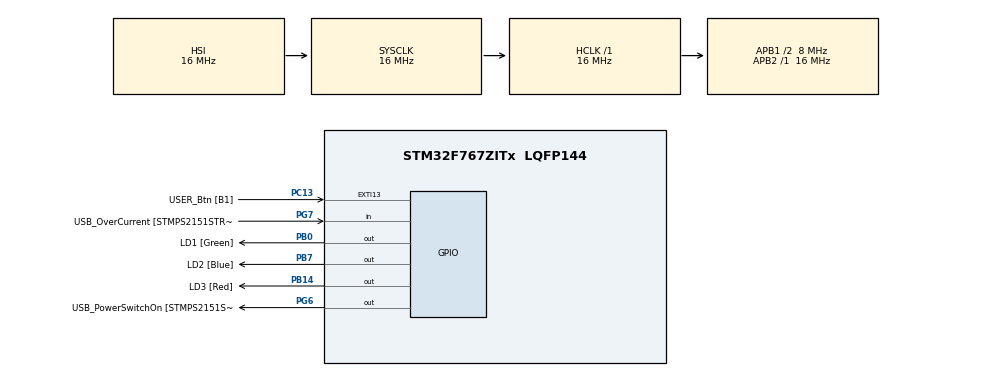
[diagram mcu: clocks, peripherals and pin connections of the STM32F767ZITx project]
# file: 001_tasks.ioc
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Mcu.Family=STM32F7
Mcu.Name=STM32F767ZITx
Mcu.Package=LQFP144
NVIC.PriorityGroup=NVIC_PRIORITYGROUP_4
NVIC.TIM6_DAC_IRQn=true\:15\:0\:false\:false\:true\:false\:true\:true
NVIC.TimeBase=TIM6_DAC_IRQn
NVIC.TimeBaseIP=TIM6
PA1.GPIO_Label=RMII_REF_CLK [LAN8742A-CZ-TR_REFCLK0]
PA1.Signal=ETH_REF_CLK
PA10.GPIO_Label=USB_ID
PA10.Signal=USB_OTG_FS_ID
PA11.GPIO_Label=USB_DM
PA11.Signal=USB_OTG_FS_DM
PA12.GPIO_Label=USB_DP
PA12.Signal=USB_OTG_FS_DP
PA13.GPIO_Label=TMS
PA13.Signal=SYS_JTMS-SWDIO
PA14.GPIO_Label=TCK
PA14.Signal=SYS_JTCK-SWCLK
PA2.GPIO_Label=RMII_MDIO [LAN8742A-CZ-TR_MDIO]
PA2.Signal=ETH_MDIO
PA7.GPIO_Label=RMII_CRS_DV [LAN8742A-CZ-TR_CRS_DV]
PA7.Signal=ETH_CRS_DV
PA8.GPIO_Label=USB_SOF [TP1]
PA8.Signal=USB_OTG_FS_SOF
PA9.GPIO_Label=USB_VBUS
PA9.Signal=USB_OTG_FS_VBUS
PB0.GPIO_Label=LD1 [Green]
PB0.Signal=GPIO_Output
PB13.GPIO_Label=RMII_TXD1 [LAN8742A-CZ-TR_TXD1]
PB13.Signal=ETH_TXD1
PB14.GPIO_Label=LD3 [Red]
PB14.Signal=GPIO_Output
PB3.GPIO_Label=SW0
PB3.Signal=SYS_JTDO-SWO
PB7.GPIO_Label=LD2 [Blue]
PB7.Signal=GPIO_Output
PC1.GPIO_Label=RMII_MDC [LAN8742A-CZ-TR_MDC]
PC1.Signal=ETH_MDC
PC13.GPIO_Label=USER_Btn [B1]
PC13.Signal=GPXTI13
PC14/OSC32_IN.Signal=RCC_OSC32_IN
PC15/OSC32_OUT.Signal=RCC_OSC32_OUT
PC4.GPIO_Label=RMII_RXD0 [LAN8742A-CZ-TR_RXD0]
PC4.Signal=ETH_RXD0
PC5.GPIO_Label=RMII_RXD1 [LAN8742A-CZ-TR_RXD1]
PC5.Signal=ETH_RXD1
PD8.GPIO_Label=STLK_RX [STM32F103CBT6_PA3]
PD8.Signal=USART3_TX
PD9.GPIO_Label=STLK_TX [STM32F103CBT6_PA2]
PD9.Signal=USART3_RX
PG11.GPIO_Label=RMII_TX_EN [LAN8742A-CZ-TR_TXEN]
PG11.Signal=ETH_TX_EN
PG13.GPIO_Label=RMII_TXD0 [LAN8742A-CZ-TR_TXD0]
PG13.Signal=ETH_TXD0
PG6.GPIO_Label=USB_PowerSwitchOn [STMPS2151STR_EN]
PG6.Signal=GPIO_Output
PG7.GPIO_Label=USB_OverCurrent [STMPS2151STR_FAULT]
PG7.Signal=GPIO_Input
PH0/OSC_IN.GPIO_Label=MCO [STM32F103CBT6_PA8]
PH0/OSC_IN.Signal=RCC_OSC_IN
PH1/OSC_OUT.Signal=RCC_OSC_OUT
ProjectManager.HeapSize=0x200
ProjectManager.StackSize=0x400
ProjectManager.TargetToolchain=STM32CubeIDE
RCC.48MHZClocksFreq_Value=24000000
RCC.AHBFreq_Value=16000000
RCC.APB1CLKDivider=RCC_HCLK_DIV2
RCC.APB1Freq_Value=8000000
RCC.APB1TimFreq_Value=16000000
RCC.APB2Freq_Value=16000000
RCC.APB2TimFreq_Value=16000000
RCC.CortexFreq_Value=16000000
RCC.HCLKFreq_Value=16000000
RCC.HSE_VALUE=16000000
RCC.HSI_VALUE=16000000
RCC.LSE_VALUE=32768
RCC.PLLMUL=RCC_PLL_MUL9
RCC.PRESCALERUSB=RCC_USBCLKSOURCE_PLL_DIV1_5
RCC.SYSCLKFreq_VALUE=16000000
RCC.SYSCLKSourceVirtual=RCC_SYSCLKSOURCE_PLLCLK
RCC.USBFreq_Value=96000000
RCC.VCOOutputFreq_Value=192000000
VP_SYS_VS_tim6.Mode=TIM6
board=NUCLEO-F767ZI

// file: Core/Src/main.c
/* USER CODE BEGIN Header */
/**
  ******************************************************************************
  * @file           : main.c
  * @brief          : Main program body
  ******************************************************************************
  * @attention
  *
  * Copyright (c) 2026 STMicroelectronics.
  * All rights reserved.
  *
  * This software is licensed under terms that can be found in the LICENSE file
  * in the root directory of this software component.
  * If no LICENSE file comes with this software, it is provided AS-IS.
  *
  ******************************************************************************
  */
/* USER CODE END Header */
#include "main.h"

/* USER CODE BEGIN Includes */
#include "FreeRTOS.h"
#include "task.h"

#include <stdio.h>
/* USER CODE END Includes */

/* USER CODE BEGIN PV */

#define DWT_CTRL (*(volatile uint32_t*)0xE0001000)

/* USER CODE END PV */

void SystemClock_Config(void);
static void MX_GPIO_Init(void);

/* USER CODE BEGIN 0 */

static void task1_handler(void* parameters);
static void task2_handler(void* parameters);

/* USER CODE END 0 */

int main(void)
{

  /* USER CODE BEGIN 1 */

  TaskHandle_t task1_handle;
  TaskHandle_t task2_handle;

  BaseType_t status;

  /* USER CODE END 1 */

  /* MCU Configuration--------------------------------------------------------*/

  /* Reset of all peripherals, Initializes the Flash interface and the Systick. */
  HAL_Init();

  /* Configure the system clock */
  SystemClock_Config();

  /* Initialize all configured peripherals */
  MX_GPIO_Init();
  /* USER CODE BEGIN 2 */

  DWT_CTRL |= (1 << 0);

  SEGGER_SYSVIEW_Conf();
  SEGGER_SYSVIEW_Start();

  status = xTaskCreate(
		  	  task1_handler,
			  "task-1",
			  200,
			  "Hello world from task 1",
			  2,
			  &task1_handle);

  configASSERT(status == pdPASS);

  status = xTaskCreate(
		  	  task2_handler,
			  "task-2",
			  200,
			  "Hello world from task 2",
			  2,
			  &task2_handle);

  configASSERT(status == pdPASS);

  vTaskStartScheduler();

  /* USER CODE END 2 */

  /* Infinite loop */
  while (1)
  {

  }
}

void SystemClock_Config(void)
{
  RCC_OscInitTypeDef RCC_OscInitStruct = {0};
  RCC_ClkInitTypeDef RCC_ClkInitStruct = {0};

  /** Configure the main internal regulator output voltage
  */
  __HAL_RCC_PWR_CLK_ENABLE();
  __HAL_PWR_VOLTAGESCALING_CONFIG(PWR_REGULATOR_VOLTAGE_SCALE3);

  /** Initializes the RCC Oscillators according to the specified parameters
  * in the RCC_OscInitTypeDef structure.
  */
  RCC_OscInitStruct.OscillatorType = RCC_OSCILLATORTYPE_HSI;
  RCC_OscInitStruct.HSIState = RCC_HSI_ON;
  RCC_OscInitStruct.HSICalibrationValue = RCC_HSICALIBRATION_DEFAULT;
  RCC_OscInitStruct.PLL.PLLState = RCC_PLL_NONE;
  if (HAL_RCC_OscConfig(&RCC_OscInitStruct) != HAL_OK)
  {
    Error_Handler();
  }

  /** Initializes the CPU, AHB and APB buses clocks
  */
  RCC_ClkInitStruct.ClockType = RCC_CLOCKTYPE_HCLK|RCC_CLOCKTYPE_SYSCLK
                              |RCC_CLOCKTYPE_PCLK1|RCC_CLOCKTYPE_PCLK2;
  RCC_ClkInitStruct.SYSCLKSource = RCC_SYSCLKSOURCE_HSI;
  RCC_ClkInitStruct.AHBCLKDivider = RCC_SYSCLK_DIV1;
  RCC_ClkInitStruct.APB1CLKDivider = RCC_HCLK_DIV2;
  RCC_ClkInitStruct.APB2CLKDivider = RCC_HCLK_DIV1;

  if (HAL_RCC_ClockConfig(&RCC_ClkInitStruct, FLASH_LATENCY_0) != HAL_OK)
  {
    Error_Handler();
  }
}

static void MX_GPIO_Init(void)
{
  GPIO_InitTypeDef GPIO_InitStruct = {0};

  /* GPIO Ports Clock Enable */
  __HAL_RCC_GPIOC_CLK_ENABLE();
  __HAL_RCC_GPIOH_CLK_ENABLE();
  __HAL_RCC_GPIOA_CLK_ENABLE();
  __HAL_RCC_GPIOB_CLK_ENABLE();
  __HAL_RCC_GPIOD_CLK_ENABLE();
  __HAL_RCC_GPIOG_CLK_ENABLE();

  /*Configure GPIO pin Output Level */
  HAL_GPIO_WritePin(GPIOB, LD1_Pin|LD3_Pin|LD2_Pin, GPIO_PIN_RESET);

  /*Configure GPIO pin Output Level */
  HAL_GPIO_WritePin(USB_PowerSwitchOn_GPIO_Port, USB_PowerSwitchOn_Pin, GPIO_PIN_RESET);

  /*Configure GPIO pin : USER_Btn_Pin */
  GPIO_InitStruct.Pin = USER_Btn_Pin;
  GPIO_InitStruct.Mode = GPIO_MODE_IT_RISING;
  GPIO_InitStruct.Pull = GPIO_NOPULL;
  HAL_GPIO_Init(USER_Btn_GPIO_Port, &GPIO_InitStruct);

  /*Configure GPIO pins : RMII_MDC_Pin RMII_RXD0_Pin RMII_RXD1_Pin */
  GPIO_InitStruct.Pin = RMII_MDC_Pin|RMII_RXD0_Pin|RMII_RXD1_Pin;
  GPIO_InitStruct.Mode = GPIO_MODE_AF_PP;
  GPIO_InitStruct.Pull = GPIO_NOPULL;
  GPIO_InitStruct.Speed = GPIO_SPEED_FREQ_VERY_HIGH;
  GPIO_InitStruct.Alternate = GPIO_AF11_ETH;
  HAL_GPIO_Init(GPIOC, &GPIO_InitStruct);

  /*Configure GPIO pins : RMII_REF_CLK_Pin RMII_MDIO_Pin RMII_CRS_DV_Pin */
  GPIO_InitStruct.Pin = RMII_REF_CLK_Pin|RMII_MDIO_Pin|RMII_CRS_DV_Pin;
  GPIO_InitStruct.Mode = GPIO_MODE_AF_PP;
  GPIO_InitStruct.Pull = GPIO_NOPULL;
  GPIO_InitStruct.Speed = GPIO_SPEED_FREQ_VERY_HIGH;
  GPIO_InitStruct.Alternate = GPIO_AF11_ETH;
  HAL_GPIO_Init(GPIOA, &GPIO_InitStruct);

  /*Configure GPIO pins : LD1_Pin LD3_Pin LD2_Pin */
  GPIO_InitStruct.Pin = LD1_Pin|LD3_Pin|LD2_Pin;
  GPIO_InitStruct.Mode = GPIO_MODE_OUTPUT_PP;
  GPIO_InitStruct.Pull = GPIO_NOPULL;
  GPIO_InitStruct.Speed = GPIO_SPEED_FREQ_LOW;
  HAL_GPIO_Init(GPIOB, &GPIO_InitStruct);

  /*Configure GPIO pin : RMII_TXD1_Pin */
  GPIO_InitStruct.Pin = RMII_TXD1_Pin;
  GPIO_InitStruct.Mode = GPIO_MODE_AF_PP;
  GPIO_InitStruct.Pull = GPIO_NOPULL;
  GPIO_InitStruct.Speed = GPIO_SPEED_FREQ_VERY_HIGH;
  GPIO_InitStruct.Alternate = GPIO_AF11_ETH;
  HAL_GPIO_Init(RMII_TXD1_GPIO_Port, &GPIO_InitStruct);

  /*Configure GPIO pins : STLK_RX_Pin STLK_TX_Pin */
  GPIO_InitStruct.Pin = STLK_RX_Pin|STLK_TX_Pin;
  GPIO_InitStruct.Mode = GPIO_MODE_AF_PP;
  GPIO_InitStruct.Pull = GPIO_NOPULL;
  GPIO_InitStruct.Speed = GPIO_SPEED_FREQ_VERY_HIGH;
  GPIO_InitStruct.Alternate = GPIO_AF7_USART3;
  HAL_GPIO_Init(GPIOD, &GPIO_InitStruct);

  /*Configure GPIO pin : USB_PowerSwitchOn_Pin */
  GPIO_InitStruct.Pin = USB_PowerSwitchOn_Pin;
  GPIO_InitStruct.Mode = GPIO_MODE_OUTPUT_PP;
  GPIO_InitStruct.Pull = GPIO_NOPULL;
  GPIO_InitStruct.Speed = GPIO_SPEED_FREQ_LOW;
  HAL_GPIO_Init(USB_PowerSwitchOn_GPIO_Port, &GPIO_InitStruct);

  /*Configure GPIO pin : USB_OverCurrent_Pin */
  GPIO_InitStruct.Pin = USB_OverCurrent_Pin;
  GPIO_InitStruct.Mode = GPIO_MODE_INPUT;
  GPIO_InitStruct.Pull = GPIO_NOPULL;
  HAL_GPIO_Init(USB_OverCurrent_GPIO_Port, &GPIO_InitStruct);

  /*Configure GPIO pins : USB_SOF_Pin USB_ID_Pin USB_DM_Pin USB_DP_Pin */
  GPIO_InitStruct.Pin = USB_SOF_Pin|USB_ID_Pin|USB_DM_Pin|USB_DP_Pin;
  GPIO_InitStruct.Mode = GPIO_MODE_AF_PP;
  GPIO_InitStruct.Pull = GPIO_NOPULL;
  GPIO_InitStruct.Speed = GPIO_SPEED_FREQ_VERY_HIGH;
  GPIO_InitStruct.Alternate = GPIO_AF10_OTG_FS;
  HAL_GPIO_Init(GPIOA, &GPIO_InitStruct);

  /*Configure GPIO pin : USB_VBUS_Pin */
  GPIO_InitStruct.Pin = USB_VBUS_Pin;
  GPIO_InitStruct.Mode = GPIO_MODE_INPUT;
  GPIO_InitStruct.Pull = GPIO_NOPULL;
  HAL_GPIO_Init(USB_VBUS_GPIO_Port, &GPIO_InitStruct);

  /*Configure GPIO pins : RMII_TX_EN_Pin RMII_TXD0_Pin */
  GPIO_InitStruct.Pin = RMII_TX_EN_Pin|RMII_TXD0_Pin;
  GPIO_InitStruct.Mode = GPIO_MODE_AF_PP;
  GPIO_InitStruct.Pull = GPIO_NOPULL;
  GPIO_InitStruct.Speed = GPIO_SPEED_FREQ_VERY_HIGH;
  GPIO_InitStruct.Alternate = GPIO_AF11_ETH;
  HAL_GPIO_Init(GPIOG, &GPIO_InitStruct);

}

/* USER CODE BEGIN 4 */
static void task1_handler(void* parameters)
{
	char msg[100];
	while(1)
	{
		snprintf(msg, 100, "%s\n", (char*)parameters);
		SEGGER_SYSVIEW_PrintfTarget(msg);
		taskYIELD();
	}
}

static void task2_handler(void* parameters)
{
	char msg[100];
	while(1)
	{
		snprintf(msg, 100, "%s\n", (char*)parameters);
		SEGGER_SYSVIEW_PrintfTarget(msg);
		taskYIELD();
	}
}
/* USER CODE END 4 */

void HAL_TIM_PeriodElapsedCallback(TIM_HandleTypeDef *htim)
{
  if (htim->Instance == TIM6)
  {
    HAL_IncTick();
  }
}

void Error_Handler(void)
{
  __disable_irq();
  while (1)
  {
  }
}
